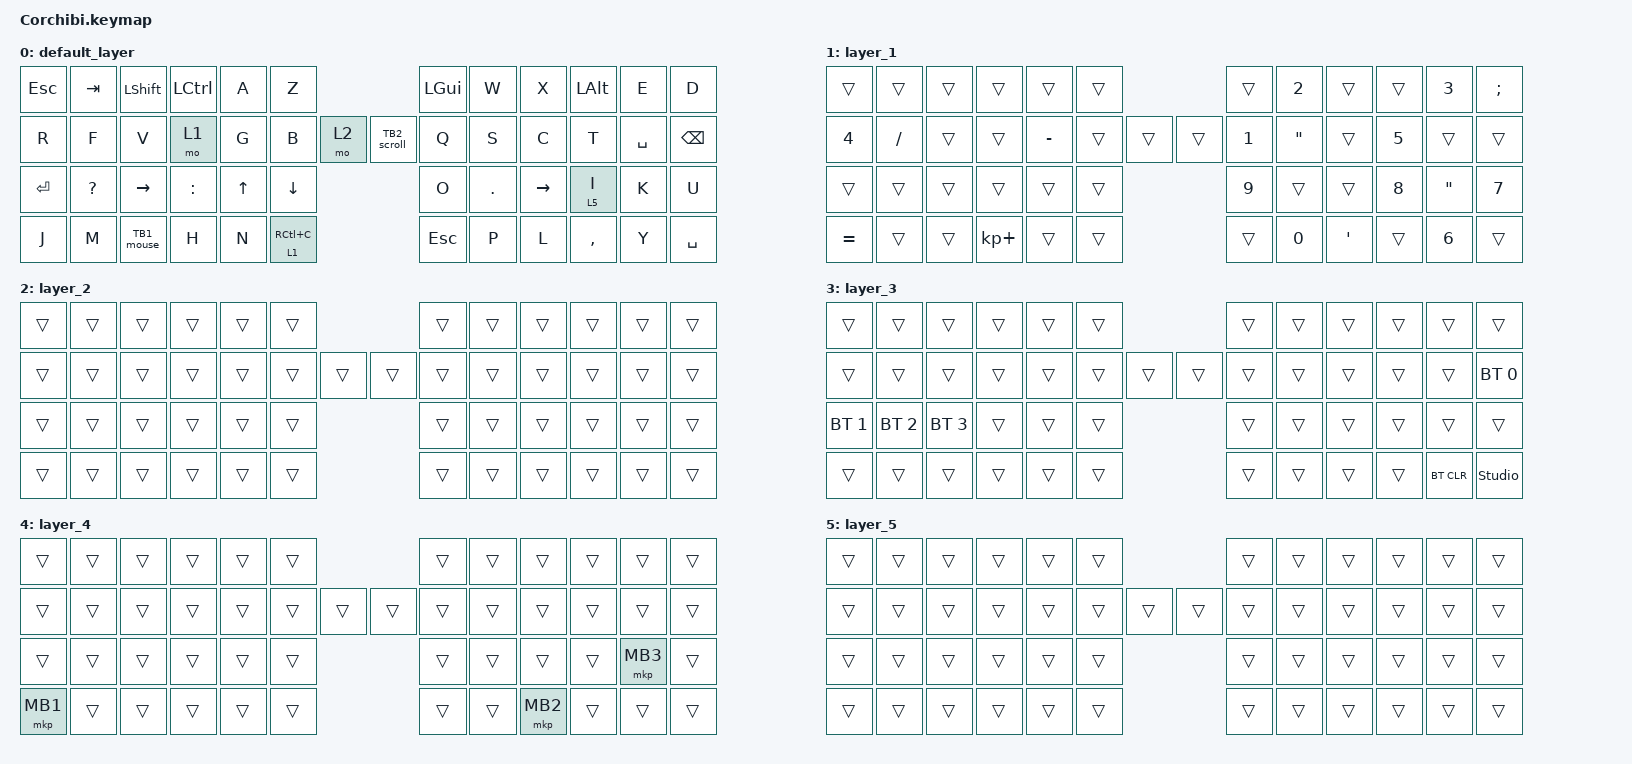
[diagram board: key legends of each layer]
#include <dt-bindings/zmk/mouse.h>
#include <behaviors.dtsi>
#include <dt-bindings/zmk/bt.h>
#include <dt-bindings/zmk/keys.h>
#include <dt-bindings/zmk/pointing.h>

/ {
    behaviors {
        TB1_mouse: TB1_mouse {
            compatible = "zmk,behavior-none";
            label = "TB19M";
            #binding-cells = <0>;
        };

        TB1_scroll: TB1_scroll {
            compatible = "zmk,behavior-none";
            #binding-cells = <0>;
        };

        TB2_mouse: TB2_mouse {
            compatible = "zmk,behavior-none";
            #binding-cells = <0>;
        };

        TB2_scroll: TB2_scroll {
            compatible = "zmk,behavior-none";
            #binding-cells = <0>;
        };

        RE_scroll_ud: RE_scroll_ud {
            compatible = "zmk,behavior-none";
            #binding-cells = <0>;
            label = "RE_SCROLL_UD";
        };

        RE_scroll_lr: RE_scroll_lr {
            compatible = "zmk,behavior-none";
            #binding-cells = <0>;
            label = "RE_SCROLL_LR";
        };
    };

    keymap {
        compatible = "zmk,keymap";

        default_layer {
            bindings = <
&kp ESC  &kp TAB       &kp LSHFT   &kp LCTRL  &kp A   &kp Z                            &kp LGUI  &kp W    &kp X      &kp LALT   &kp E      &kp D
&kp R    &kp F         &kp V       &mo 1      &kp G   &kp B        &mo 2  &TB2_scroll  &kp Q     &kp S    &kp C      &kp T      &kp SPACE  &kp BSPC
&kp RET  &kp QUESTION  &kp RIGHT   &kp COLON  &kp UP  &kp DOWN                         &kp O     &kp DOT  &kp RIGHT  &lt 5 I    &kp K      &kp U
&kp J    &kp M         &TB1_mouse  &kp H      &kp N   &lt 1 RC(C)                      &kp ESC   &kp P    &kp L      &kp COMMA  &kp Y      &kp SPACE
            >;
        };

        layer_1 {
            bindings = <
&trans        &trans     &trans  &trans       &trans     &trans                  &trans        &kp NUMBER_2       &trans   &trans        &kp NUMBER_3       &kp SEMICOLON
&kp NUMBER_4  &kp SLASH  &trans  &trans       &kp MINUS  &trans  &trans  &trans  &kp NUMBER_1  &kp DOUBLE_QUOTES  &trans   &kp NUMBER_5  &trans             &trans
&trans        &trans     &trans  &trans       &trans     &trans                  &kp NUMBER_9  &trans             &trans   &kp N8        &kp DOUBLE_QUOTES  &kp NUMBER_7
&kp EQUAL     &trans     &trans  &kp KP_PLUS  &trans     &trans                  &trans        &kp NUMBER_0       &kp SQT  &trans        &kp NUMBER_6       &trans
            >;
        };

        layer_2 {
            bindings = <
&trans  &trans  &trans  &trans  &trans  &trans                  &trans  &trans  &trans  &trans  &trans  &trans
&trans  &trans  &trans  &trans  &trans  &trans  &trans  &trans  &trans  &trans  &trans  &trans  &trans  &trans
&trans  &trans  &trans  &trans  &trans  &trans                  &trans  &trans  &trans  &trans  &trans  &trans
&trans  &trans  &trans  &trans  &trans  &trans                  &trans  &trans  &trans  &trans  &trans  &trans
            >;
        };

        layer_3 {
            bindings = <
&trans        &trans        &trans        &trans  &trans  &trans                  &trans  &trans  &trans  &trans  &trans      &trans
&trans        &trans        &trans        &trans  &trans  &trans  &trans  &trans  &trans  &trans  &trans  &trans  &trans      &bt BT_SEL 0
&bt BT_SEL 1  &bt BT_SEL 2  &bt BT_SEL 3  &trans  &trans  &trans                  &trans  &trans  &trans  &trans  &trans      &trans
&trans        &trans        &trans        &trans  &trans  &trans                  &trans  &trans  &trans  &trans  &bt BT_CLR  &studio_unlock
            >;
        };

        layer_4 {
            bindings = <
&trans    &trans  &trans  &trans  &trans  &trans                  &trans  &trans  &trans    &trans  &trans    &trans
&trans    &trans  &trans  &trans  &trans  &trans  &trans  &trans  &trans  &trans  &trans    &trans  &trans    &trans
&trans    &trans  &trans  &trans  &trans  &trans                  &trans  &trans  &trans    &trans  &mkp MB3  &trans
&mkp MB1  &trans  &trans  &trans  &trans  &trans                  &trans  &trans  &mkp MB2  &trans  &trans    &trans
            >;
        };

        layer_5 {
            bindings = <
&trans  &trans  &trans  &trans  &trans  &trans                  &trans  &trans  &trans  &trans  &trans  &trans
&trans  &trans  &trans  &trans  &trans  &trans  &trans  &trans  &trans  &trans  &trans  &trans  &trans  &trans
&trans  &trans  &trans  &trans  &trans  &trans                  &trans  &trans  &trans  &trans  &trans  &trans
&trans  &trans  &trans  &trans  &trans  &trans                  &trans  &trans  &trans  &trans  &trans  &trans
            >;
        };
    };
};

// force trigger build
// apply DYA studio fixes
// fix central role and remove advertising config
// fix missing BLE central role
// slim down R config and fix endpoints
// bypass compiler strict warnings for auto_mouse_layer
// fix endpoint count by forcing central role
// remove invalid cmake configs
// remove undefined moNa2 configs
